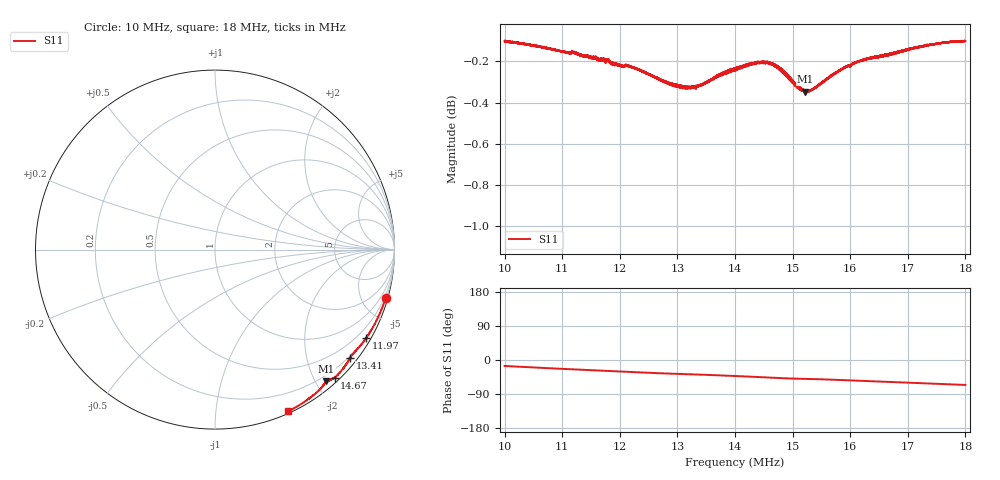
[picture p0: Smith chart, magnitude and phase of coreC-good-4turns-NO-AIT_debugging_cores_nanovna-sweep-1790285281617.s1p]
! NanoVNA Web complex sweep
! Processing: unaveraged complex samples; linear segment spacing; no smoothing
# Hz S RI R 50
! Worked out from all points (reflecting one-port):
!   10100 points, 10 MHz to 18 MHz, reference 50 ohm
!   lowest |S11| = -0.3 dB at 15.22 MHz (marker M1), VSWR 49.95, Z = 5.63 - j107 ohm
!   phase of S11 starts at -16 deg and turns -50 deg over the sweep
!   S11 on the Smith chart (normalised r, x): 10 MHz: 0.31, -7.23; 11.97 MHz: 0.18, -3.70; 13.41 MHz: 0.16, -2.84; 14.67 MHz: 0.08, -2.30; 18 MHz: 0.02, -1.54
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1e7  0.9515 -0.268
1.003802e7  0.9498 -0.2726
1.047995e7  0.9297 -0.3289
1.10003e7  0.9025 -0.3896
1.119592e7  0.892 -0.4116
1.155866e7  0.8698 -0.4504
1.196812e7  0.8434 -0.4904
1.19998e7  0.8412 -0.4933
1.217246e7  0.8299 -0.5103
1.245916e7  0.81 -0.5352
1.268013e7  0.7943 -0.5521
1.30001e7  0.7733 -0.5752
1.340956e7  0.7524 -0.6036
1.369547e7  0.7383 -0.6277
1.39996e7  0.7197 -0.6541
1.43655e7  0.6943 -0.6867
1.467359e7  0.6668 -0.7126
1.483674e7  0.6503 -0.7227
1.49991e7  0.6344 -0.7291
1.510602e7  0.6269 -0.7313
1.52177e7  0.62 -0.734
1.537689e7  0.6135 -0.7418
1.560736e7  0.6021 -0.7578
1.59994e7  0.5763 -0.7859
1.636847e7  0.5471 -0.8123
1.69989e7  0.4951 -0.8499
1.756598e7  0.445 -0.8813
1.799841e7  0.4044 -0.9019
